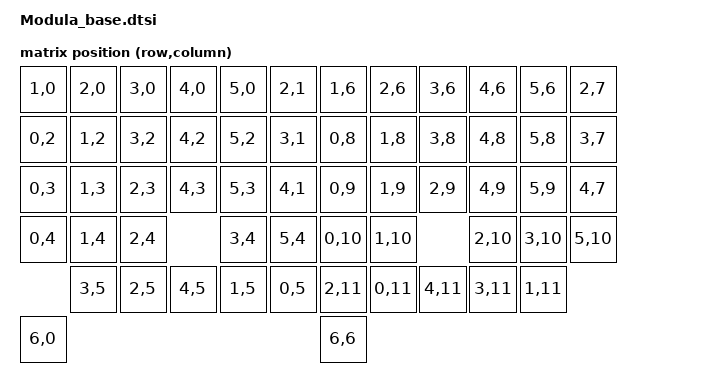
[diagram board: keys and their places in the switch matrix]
#include <dt-bindings/zmk/input_transform.h>
#include <dt-bindings/zmk/matrix_transform.h>
#include <behaviors/rgbled_widget.dtsi>
#include "Modula_layouts.dtsi"

/ {

  aliases {
    led-red = &led0;
    led-green = &led1;
    led-blue = &led2;
  };

  chosen {
    zmk,physical-layout = &layout_Modula;
  };
   
  position_map {
    compatible = "zmk,physical-layout-position-map";
    complete;
    layout_Modula {
      physical-layout = <&layout_Modula>;
      positions = 
      < 0  1  2  3  4  5    6  7  8  9  10 11>,
      < 12 13 14 15 16 17   18 19 20 21 22 23>,
      < 24 25 26 27 28 29   30 31 32 33 34 35>,
      < 36 37 38    39 40   41 42    43 44 45>,
      < 46 47 48 49 50      51 52 53 54 55>,
      < 56                  57>;
    };
  };

  default_transform: keymap_transform_0 {
    compatible = "zmk,matrix-transform";
    columns = <12>;
    rows = <5>;
    
    map = <
    RC( 1, 0)  RC( 2, 0)  RC( 3, 0)  RC( 4, 0)  RC( 5, 0)  RC( 2, 1)     RC( 1, 6)  RC( 2, 6)  RC( 3, 6)  RC( 4, 6)  RC( 5, 6)  RC( 2, 7)
    RC( 0, 2)  RC( 1, 2)  RC( 3, 2)  RC( 4, 2)  RC( 5, 2)  RC( 3, 1)     RC( 0, 8)  RC( 1, 8)  RC( 3, 8)  RC( 4, 8)  RC( 5, 8)  RC( 3, 7)
    RC( 0, 3)  RC( 1, 3)  RC( 2, 3)  RC( 4, 3)  RC( 5, 3)  RC( 4, 1)     RC( 0, 9)  RC( 1, 9)  RC( 2, 9)  RC( 4, 9)  RC( 5, 9)  RC( 4, 7)
    RC( 0, 4)  RC( 1, 4)  RC( 2, 4)             RC( 3, 4)  RC( 5, 4)     RC( 0,10)  RC( 1,10)             RC( 2,10)  RC( 3,10)  RC( 5,10)
                 RC( 3, 5)  RC( 2, 5)  RC( 4, 5)  RC( 1, 5)  RC( 0, 5)     RC( 2,11)  RC( 0,11)  RC( 4,11)  RC( 3,11)  RC( 1,11)
      RC( 6, 0)                                                            RC( 6, 6)
    >;
  };

  // Kscan
  kscan0: kscan0 {
    compatible = "zmk,kscan-composite";
    matrix {
        kscan = <&kscan1>;
    };
    direct {
        row-offset = <6>;
        kscan = <&kscan2>;
    };
  };

  kscan1: kscan1 {
    compatible = "zmk,kscan-gpio-charlieplex";
    interrupt-gpios = <&xiao_d 6 (GPIO_ACTIVE_HIGH)>;
    gpios
      = <&xiao_d  0 (GPIO_ACTIVE_HIGH)>
      , <&xiao_d  1 (GPIO_ACTIVE_HIGH)>
      , <&xiao_d  2 (GPIO_ACTIVE_HIGH)>
      , <&xiao_d  3 (GPIO_ACTIVE_HIGH)>
      , <&gpio0   9 (GPIO_ACTIVE_HIGH)>
      , <&gpio0  10 (GPIO_ACTIVE_HIGH)>
      ;
  };
    
  kscan2: kscan2 {
    compatible = "zmk,kscan-mock";
    columns = <0>;
    rows = <0>;
    events = <0>;
  };

  // LEDs
  leds {
    compatible = "gpio-leds";
    status = "okay";
    led0: led_0 {
      gpios = <&gpio0 26 GPIO_ACTIVE_LOW>;  // red LED, connected to P0.26
    };
    led1: led_1 {
      gpios = <&gpio0 30 GPIO_ACTIVE_LOW>;  // green LED, connected to P0.30
    };
    led2: led_2 {
      gpios = <&gpio0 6 GPIO_ACTIVE_LOW>;  // blue LED, connected to P0.06
    };
  };

   // Encoders
   left_encoder: left-encoder {
      compatible = "alps,ec11";
      status = "disabled";
   };

   right_encoder: right-encoder {
      compatible = "alps,ec11";
      status = "disabled";
   };

   sensors: sensors {
      compatible = "zmk,keymap-sensors";
      sensors = <&left_encoder &right_encoder>;
   };

  // Cyclic CPI
  // Behaviour to cycle through DPI values on a keypress
  cpi_cyc: sensor_cpi_cycle {
      compatible = "zmk,behavior-sensor-attr-cycle";
      status = "disabled";
      #binding-cells = <1>;
      values = < 800 1600 3200 400>;
      attr = <0>;
      display-name = "DPI cycle";
  }; 
};

zephyr_udc0: &usbd {
    status = "okay";
};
